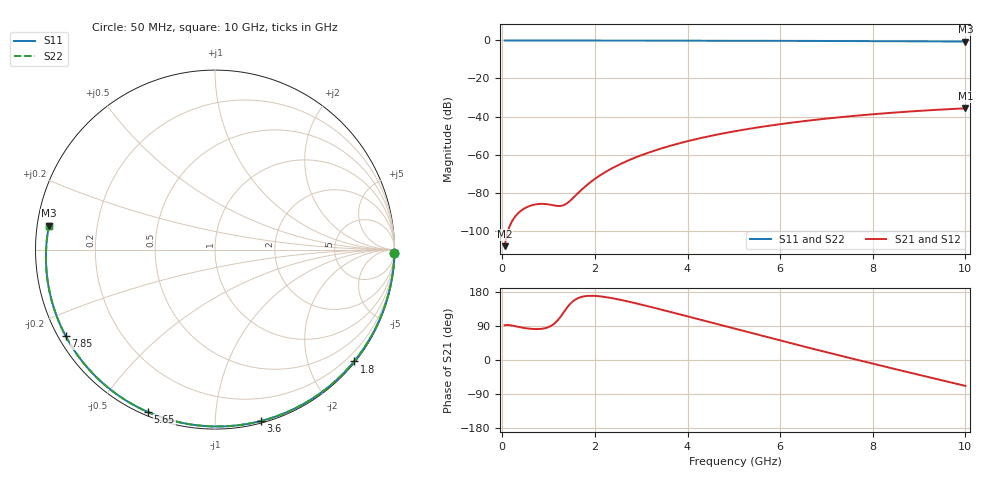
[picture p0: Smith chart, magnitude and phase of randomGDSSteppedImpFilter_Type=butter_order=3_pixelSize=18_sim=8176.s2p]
! freq	dB(S11)	phase(S11)	dB(S12)	phase(S12)
!  dB(S21)	phase(S21)	dB(S22)	phase(S22)
!S-par simulation data
#  GHz  S  DB  R 50
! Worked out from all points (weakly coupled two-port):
!   200 points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, 50 MHz to 10 GHz, reference 50 ohm
!   highest |S21| = -35.70 dB at 10 GHz (marker M1); lowest = -108.2 dB at 50 MHz (marker M2)
!   lowest |S11| = -0.6 dB at 10 GHz (marker M3), VSWR 29.71, Z = 1.69 + j3.57 ohm
!   |S11| at or under -10 dB: nowhere
!   |S22| runs from -0.6 to 0.0 dB; largest |S21 - S12| = 0
!   S11 on the Smith chart (normalised r, x): 50 MHz: open; 1.8 GHz: 0.03, -2.84; 3.6 GHz: 0.02, -1.30; 5.65 GHz: 0.02, -0.67; 7.85 GHz: 0.02, -0.27; 10 GHz: 0.03, +0.07
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0.05  -0.00 -1.1  -108.17 91.8  -108.17 91.8  -0.00 -1.1
0.4  -0.01 -8.8  -89.60 86.1  -89.60 86.1  -0.01 -8.8
0.8  -0.02 -17.5  -85.97 81.8  -85.97 81.8  -0.02 -17.5
1.6  -0.04 -34.6  -81.10 161.0  -81.10 161.0  -0.04 -34.6
1.65  -0.04 -35.6  -79.91 163.9  -79.91 163.9  -0.04 -35.7
1.75  -0.05 -37.7  -77.65 167.6  -77.65 167.6  -0.05 -37.8
1.8  -0.05 -38.8  -76.58 168.6  -76.58 168.6  -0.05 -38.8
2.1  -0.06 -45.0  -71.11 168.1  -71.11 168.1  -0.06 -45.1
2.45  -0.07 -52.2  -66.20 161.3  -66.20 161.3  -0.07 -52.2
2.9  -0.08 -61.3  -61.30 149.2  -61.30 149.2  -0.08 -61.3
3.4  -0.09 -71.1  -57.04 134.1  -57.04 134.1  -0.09 -71.1
3.6  -0.10 -75.0  -55.58 127.8  -55.58 127.8  -0.10 -75.0
4.3  -0.12 -88.2  -51.25 105.5  -51.25 105.5  -0.12 -88.2
5.05  -0.15 -101.8  -47.61 81.6  -47.61 81.6  -0.15 -101.9
5.65  -0.18 -112.4  -45.23 62.5  -45.23 62.5  -0.18 -112.5
6.15  -0.21 -121.1  -43.52 46.8  -43.52 46.8  -0.21 -121.1
6.7  -0.25 -130.5  -41.89 29.8  -41.89 29.8  -0.25 -130.5
7.3  -0.30 -140.6  -40.34 11.4  -40.34 11.4  -0.30 -140.7
7.85  -0.34 -150.0  -39.11 -5.1  -39.11 -5.1  -0.34 -150.0
8.35  -0.39 -158.5  -38.13 -20.0  -38.13 -20.0  -0.39 -158.6
9.2  -0.48 -173.4  -36.72 -45.1  -36.72 -45.1  -0.48 -173.5
10  -0.58 171.8  -35.70 -68.3  -35.70 -68.3  -0.59 171.7
